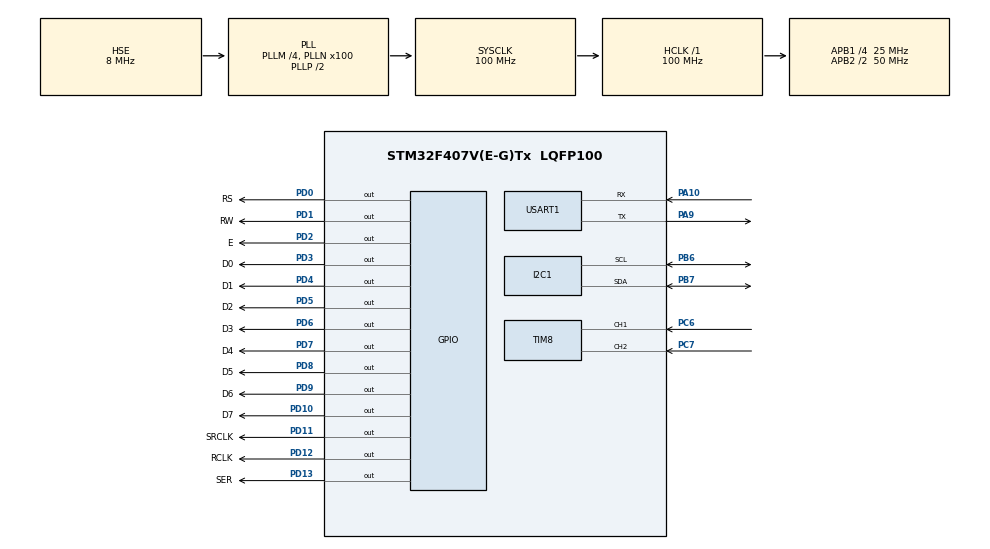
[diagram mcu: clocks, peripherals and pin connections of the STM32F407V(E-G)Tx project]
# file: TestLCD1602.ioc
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Mcu.Family=STM32F4
Mcu.Name=STM32F407V(E-G)Tx
Mcu.Package=LQFP100
NVIC.PriorityGroup=NVIC_PRIORITYGROUP_4
NVIC.TIM8_TRG_COM_TIM14_IRQn=true\:15\:0\:false\:false\:true\:false\:true\:true
NVIC.TimeBase=TIM8_TRG_COM_TIM14_IRQn
NVIC.TimeBaseIP=TIM14
PA10.Mode=Asynchronous
PA10.Signal=USART1_RX
PA13.Mode=Serial_Wire
PA13.Signal=SYS_JTMS-SWDIO
PA14.Mode=Serial_Wire
PA14.Signal=SYS_JTCK-SWCLK
PA9.Mode=Asynchronous
PA9.Signal=USART1_TX
PB6.Mode=I2C
PB6.Signal=I2C1_SCL
PB7.Mode=I2C
PB7.Signal=I2C1_SDA
PC14-OSC32_IN.Mode=LSE-External-Oscillator
PC14-OSC32_IN.Signal=RCC_OSC32_IN
PC15-OSC32_OUT.Mode=LSE-External-Oscillator
PC15-OSC32_OUT.Signal=RCC_OSC32_OUT
PC6.Signal=S_TIM8_CH1
PC7.Signal=S_TIM8_CH2
PD0.GPIO_Label=RS
PD0.GPIO_Speed=GPIO_SPEED_FREQ_VERY_HIGH
PD0.Signal=GPIO_Output
PD1.GPIO_Label=RW
PD1.GPIO_Speed=GPIO_SPEED_FREQ_VERY_HIGH
PD1.Signal=GPIO_Output
PD10.GPIO_Label=D7
PD10.GPIO_Speed=GPIO_SPEED_FREQ_VERY_HIGH
PD10.Signal=GPIO_Output
PD11.GPIO_Label=SRCLK
PD11.GPIO_Speed=GPIO_SPEED_FREQ_HIGH
PD11.Signal=GPIO_Output
PD12.GPIO_Label=RCLK
PD12.GPIO_Speed=GPIO_SPEED_FREQ_VERY_HIGH
PD12.Signal=GPIO_Output
PD13.GPIO_Label=SER
PD13.GPIO_Speed=GPIO_SPEED_FREQ_VERY_HIGH
PD13.Signal=GPIO_Output
PD2.GPIO_Label=E
PD2.GPIO_Speed=GPIO_SPEED_FREQ_VERY_HIGH
PD2.Signal=GPIO_Output
PD3.GPIO_Label=D0
PD3.GPIO_Speed=GPIO_SPEED_FREQ_VERY_HIGH
PD3.Signal=GPIO_Output
PD4.GPIO_Label=D1
PD4.GPIO_Speed=GPIO_SPEED_FREQ_VERY_HIGH
PD4.Signal=GPIO_Output
PD5.GPIO_Label=D2
PD5.GPIO_Speed=GPIO_SPEED_FREQ_VERY_HIGH
PD5.Signal=GPIO_Output
PD6.GPIO_Label=D3
PD6.GPIO_Speed=GPIO_SPEED_FREQ_VERY_HIGH
PD6.Signal=GPIO_Output
PD7.GPIO_Label=D4
PD7.GPIO_Speed=GPIO_SPEED_FREQ_VERY_HIGH
PD7.Signal=GPIO_Output
PD8.GPIO_Label=D5
PD8.GPIO_Speed=GPIO_SPEED_FREQ_VERY_HIGH
PD8.Signal=GPIO_Output
PD9.GPIO_Label=D6
PD9.GPIO_Speed=GPIO_SPEED_FREQ_VERY_HIGH
PD9.Signal=GPIO_Output
PH0-OSC_IN.Mode=HSE-External-Oscillator
PH0-OSC_IN.Signal=RCC_OSC_IN
PH1-OSC_OUT.Mode=HSE-External-Oscillator
PH1-OSC_OUT.Signal=RCC_OSC_OUT
ProjectManager.HeapSize=0x200
ProjectManager.StackSize=0x400
ProjectManager.TargetToolchain=STM32CubeIDE
RCC.48MHZClocksFreq_Value=50000000
RCC.AHBFreq_Value=100000000
RCC.APB1CLKDivider=RCC_HCLK_DIV4
RCC.APB1Freq_Value=25000000
RCC.APB1TimFreq_Value=50000000
RCC.APB2CLKDivider=RCC_HCLK_DIV2
RCC.APB2Freq_Value=50000000
RCC.APB2TimFreq_Value=100000000
RCC.CortexFreq_Value=100000000
RCC.HCLKFreq_Value=100000000
RCC.HSE_VALUE=8000000
RCC.HSI_VALUE=16000000
RCC.PLLM=4
RCC.PLLN=100
RCC.PLLSourceVirtual=RCC_PLLSOURCE_HSE
RCC.SYSCLKFreq_VALUE=100000000
RCC.SYSCLKSource=RCC_SYSCLKSOURCE_PLLCLK
RCC.VCOOutputFreq_Value=200000000
SH.S_TIM8_CH1.0=TIM8_CH1,Encoder_Interface
SH.S_TIM8_CH2.0=TIM8_CH2,Encoder_Interface
USART1.VirtualMode=VM_ASYNC
VP_SYS_VS_tim14.Mode=TIM14
board=custom

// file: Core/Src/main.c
/* USER CODE BEGIN Header */
/**
  ******************************************************************************
  * @file           : main.c
  * @brief          : Main program body
  ******************************************************************************
  * @attention
  *
  * Copyright (c) 2024 STMicroelectronics.
  * All rights reserved.
  *
  * This software is licensed under terms that can be found in the LICENSE file
  * in the root directory of this software component.
  * If no LICENSE file comes with this software, it is provided AS-IS.
  *
  ******************************************************************************
  */
/* USER CODE END Header */
#include "main.h"
#include "i2c.h"
#include "tim.h"
#include "usart.h"
#include "gpio.h"

/* USER CODE BEGIN Includes */
#include "lcd1602.h"
#include "lcd_data_transport.h"
#include <string.h>
/* USER CODE END Includes */

void SystemClock_Config(void);

int main(void)
{

  /* MCU Configuration--------------------------------------------------------*/

  /* Reset of all peripherals, Initializes the Flash interface and the Systick. */
  HAL_Init();

  /* Configure the system clock */
  SystemClock_Config();

  /* Initialize all configured peripherals */
  MX_GPIO_Init();
  MX_I2C1_Init();
  MX_TIM8_Init();
  MX_USART1_UART_Init();
  /* USER CODE BEGIN 2 */
  HAL_TIM_Encoder_Start(&htim8, TIM_CHANNEL_ALL);
  LCD_Init();
  LCD_SetCursor(1, 0);
#if (LCD_DATA_TRANSPORT == LCD_DATA_GPIO)
#if (LCD_DATA_WIDTH == LCD_DATA_WIDTH_BYTE)
  char *str = "GPIO 8 Bit";
#elif (LCD_DATA_WIDTH == LCD_DATA_WIDTH_HALF_BYTE)
  char *str = "GPIO 4 Bit";
#endif
#elif (LCD_DATA_TRANSPORT == LCD_DATA_74HC595)
  char *str = "74HC595 4 Bit";
#elif (LCD_DATA_TRANSPORT == LCD_DATA_PCF8574T)
  char *str = "PCF8574T 4 Bit";
#endif

  LCD_SendString(str, strlen(str));

  /* USER CODE END 2 */

  /* Infinite loop */
  while (1)
  {

  }
}

void SystemClock_Config(void)
{
  RCC_OscInitTypeDef RCC_OscInitStruct = {0};
  RCC_ClkInitTypeDef RCC_ClkInitStruct = {0};

  /** Configure the main internal regulator output voltage
  */
  __HAL_RCC_PWR_CLK_ENABLE();
  __HAL_PWR_VOLTAGESCALING_CONFIG(PWR_REGULATOR_VOLTAGE_SCALE1);

  /** Initializes the RCC Oscillators according to the specified parameters
  * in the RCC_OscInitTypeDef structure.
  */
  RCC_OscInitStruct.OscillatorType = RCC_OSCILLATORTYPE_HSE;
  RCC_OscInitStruct.HSEState = RCC_HSE_ON;
  RCC_OscInitStruct.PLL.PLLState = RCC_PLL_ON;
  RCC_OscInitStruct.PLL.PLLSource = RCC_PLLSOURCE_HSE;
  RCC_OscInitStruct.PLL.PLLM = 4;
  RCC_OscInitStruct.PLL.PLLN = 100;
  RCC_OscInitStruct.PLL.PLLP = RCC_PLLP_DIV2;
  RCC_OscInitStruct.PLL.PLLQ = 4;
  if (HAL_RCC_OscConfig(&RCC_OscInitStruct) != HAL_OK)
  {
    Error_Handler();
  }

  /** Initializes the CPU, AHB and APB buses clocks
  */
  RCC_ClkInitStruct.ClockType = RCC_CLOCKTYPE_HCLK|RCC_CLOCKTYPE_SYSCLK
                              |RCC_CLOCKTYPE_PCLK1|RCC_CLOCKTYPE_PCLK2;
  RCC_ClkInitStruct.SYSCLKSource = RCC_SYSCLKSOURCE_PLLCLK;
  RCC_ClkInitStruct.AHBCLKDivider = RCC_SYSCLK_DIV1;
  RCC_ClkInitStruct.APB1CLKDivider = RCC_HCLK_DIV4;
  RCC_ClkInitStruct.APB2CLKDivider = RCC_HCLK_DIV2;

  if (HAL_RCC_ClockConfig(&RCC_ClkInitStruct, FLASH_LATENCY_3) != HAL_OK)
  {
    Error_Handler();
  }
}

void HAL_TIM_PeriodElapsedCallback(TIM_HandleTypeDef *htim)
{
  if (htim->Instance == TIM14) {
    HAL_IncTick();
  }
}

void Error_Handler(void)
{
  __disable_irq();
  while (1)
  {
  }
}
